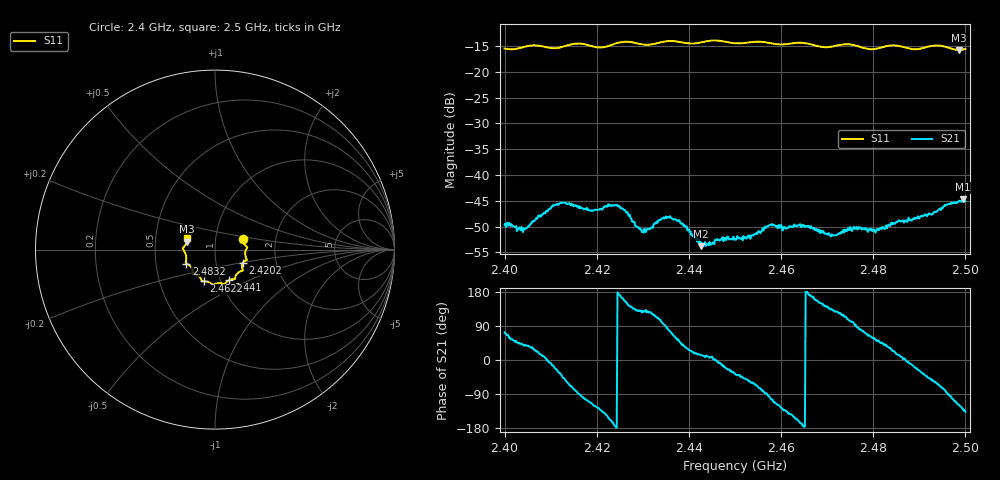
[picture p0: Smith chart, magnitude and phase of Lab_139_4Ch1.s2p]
# Hz S RI R 50
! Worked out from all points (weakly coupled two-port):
!   601 points, 2.4 GHz to 2.5 GHz, reference 50 ohm
!   highest |S21| = -44.71 dB at 2.4995 GHz (marker M1); lowest = -53.8 dB at 2.4427 GHz (marker M2)
!   lowest |S11| = -15.8 dB at 2.4987 GHz (marker M3), VSWR 1.39, Z = 36.4 + j3.35 ohm
!   |S11| at or under -10 dB: start of sweep to end of sweep
!   S12 and S22 are empty: the file has one direction only
!   S11 on the Smith chart (normalised r, x): 2.4 GHz: 1.36, +0.17; 2.4202 GHz: 1.35, -0.20; 2.441 GHz: 1.09, -0.39; 2.4622 GHz: 0.83, -0.30; 2.4832 GHz: 0.72, -0.12; 2.5 GHz: 0.73, +0.09
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2.4e9  0.1566 0.0595  0.000965 0.00315  0 0  0 0
2.404333e9  0.1734 0.0182  0.0023 0.00189  0 0  0 0
2.412333e9  0.1693 -0.0345  0.00416 -0.00336  0 0  0 0
2.416667e9  0.1772 -0.0584  -0.000488 -0.00481  0 0  0 0
2.420167e9  0.1559 -0.0723  -0.00262 -0.00377  0 0  0 0
2.4245e9  0.1545 -0.1105  -0.00512 0.000144  0 0  0 0
2.430167e9  0.1325 -0.1263  -0.00167 0.0022  0 0  0 0
2.433333e9  0.113 -0.1525  -0.00118 0.00344  0 0  0 0
2.4375e9  0.1058 -0.1647  0.00217 0.00291  0 0  0 0
2.441e9  0.0766 -0.1712  0.00239 0.000908  0 0  0 0
2.442667e9  0.0636 -0.1814  0.002 0.000456  0 0  0 0
2.45e9  0.026 -0.1866  0.00197 -0.0014  0 0  0 0
2.453833e9  -0.00497 -0.194  0.00133 -0.00224  0 0  0 0
2.4575e9  -0.0221 -0.1881  -0.000429 -0.00326  0 0  0 0
2.462167e9  -0.0632 -0.1766  -0.00253 -0.00185  0 0  0 0
2.466667e9  -0.0767 -0.1664  -0.00301 0.000695  0 0  0 0
2.471e9  -0.1068 -0.1385  -0.00186 0.00191  0 0  0 0
2.483167e9  -0.1597 -0.0783  0.00268 0.00186  0 0  0 0
2.483333e9  -0.1604 -0.0779  0.00276 0.00182  0 0  0 0
2.498667e9  -0.156 0.0449  -0.0028 -0.00491  0 0  0 0
2.4995e9  -0.1539 0.0563  -0.00368 -0.00451  0 0  0 0
2.5e9  -0.1535 0.063  -0.00407 -0.00385  0 0  0 0
